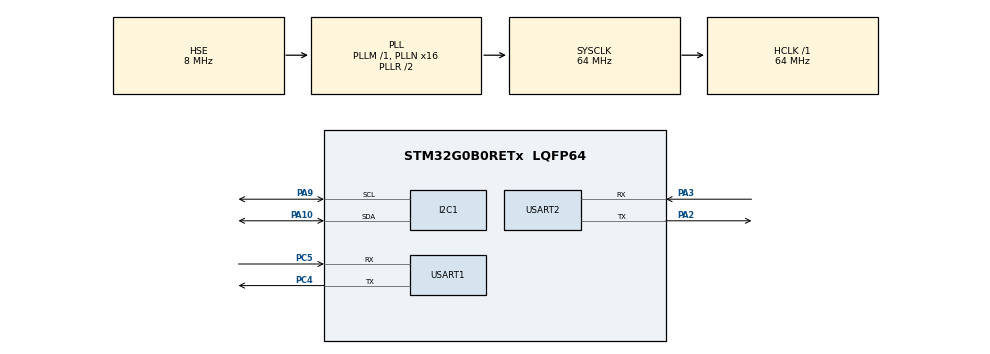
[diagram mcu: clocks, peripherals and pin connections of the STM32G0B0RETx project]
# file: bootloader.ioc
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I2C1.Timing=0x10707DBC
Mcu.Family=STM32G0
Mcu.Name=STM32G0B0RETx
Mcu.Package=LQFP64
PA10.Mode=I2C
PA10.Signal=I2C1_SDA
PA13.Mode=Serial_Wire
PA13.Signal=SYS_SWDIO
PA14-BOOT0.Mode=Serial_Wire
PA14-BOOT0.Signal=SYS_SWCLK
PA2.Mode=Asynchronous
PA2.Signal=USART2_TX
PA3.Mode=Asynchronous
PA3.Signal=USART2_RX
PA9.Mode=I2C
PA9.Signal=I2C1_SCL
PC4.Mode=Asynchronous
PC4.Signal=USART1_TX
PC5.Mode=Asynchronous
PC5.Signal=USART1_RX
PF0-OSC_IN\ (PF0).Mode=HSE-External-Oscillator
PF0-OSC_IN\ (PF0).Signal=RCC_OSC_IN
PF1-OSC_OUT\ (PF1).Mode=HSE-External-Oscillator
PF1-OSC_OUT\ (PF1).Signal=RCC_OSC_OUT
ProjectManager.HeapSize=0x200
ProjectManager.StackSize=0x400
ProjectManager.TargetToolchain=Makefile
RCC.ADCFreq_Value=64000000
RCC.AHBFreq_Value=64000000
RCC.CortexFreq_Value=64000000
RCC.EXTERNAL_CLOCK_VALUE=48000
RCC.HCLKFreq_Value=64000000
RCC.HSI_VALUE=16000000
RCC.LSE_VALUE=32768
RCC.PLLN=16
RCC.PLLSourceVirtual=RCC_PLLSOURCE_HSE
RCC.SYSCLKFreq_VALUE=64000000
RCC.SYSCLKSource=RCC_SYSCLKSOURCE_PLLCLK
RCC.USBFreq_Value=64000000
RCC.VCOOutputFreq_Value=128000000
USART1.VirtualMode-Asynchronous=VM_ASYNC
USART2.VirtualMode-Asynchronous=VM_ASYNC
VP_SYS_VS_DBSignals.Mode=DisableDeadBatterySignals
board=custom

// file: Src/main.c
/* USER CODE BEGIN Header */
/**
 ******************************************************************************
 * @file           : main.c
 * @brief          : Main program body
 ******************************************************************************
 * @attention
 *
 * Copyright (c) 2023 STMicroelectronics.
 * All rights reserved.
 *
 * This software is licensed under terms that can be found in the LICENSE file
 * in the root directory of this software component.
 * If no LICENSE file comes with this software, it is provided AS-IS.
 *
 ******************************************************************************
 */
/* USER CODE END Header */
#include "main.h"
#include "i2c.h"
#include "usart.h"
#include "gpio.h"

/* USER CODE BEGIN Includes */
#include <stdio.h>
#include <string.h>
#include "hg24c64.h"
/* USER CODE END Includes */

/* USER CODE BEGIN PD */
#define FLASH_ADDRESS          (0x08000000)
#define FLASH_END_ADDRESS      (0x08100000)         // 1024KB
#define APP_BOOTLOADER_ADDRESS (0x08000000)         // 16KB
#define APP1_FLASH_ADDRESS     (0x08004000)         // 496KB
#define APP2_FLASH_ADDRESS     (0x08080000)         // 512KB
#define APP1_FLASH_END_ADDRESS (APP2_FLASH_ADDRESS) // 不包�???????
#define APP2_FLASH_END_ADDRESS (FLASH_END_ADDRESS)  // 不包�???????
#define APP_INFO_FLASH_SECTOR  FLASH_SECTOR_1
#define APP_INFO_ENABLED_FLAG  (0xCD)
/* USER CODE END PD */

/* USER CODE BEGIN PM */
#define offsetof(type, member)          ((uint32_t) & (((type *)0)->member))
#define member_size(type, member)       (sizeof(((type *)0)->member))
#define container_of(ptr, type, member) ({             \
    const typeof(((type *)0)->member) *__mptr = (ptr); \
    (type *)((char *)__mptr - offsetof(type, member)); \
})

/* USER CODE END PM */

/* USER CODE BEGIN PV */
typedef struct {
    int8_t id;          // app编号,合法值为1�???2
    uint32_t addr;      // app地址
    uint32_t timestamp; // app下载时间
    uint32_t size;      // app大小
    // version字段: "0.0.1"，是有三位的版本�???,分别是对应的version里面的：major, minor, patch
    uint8_t version_major;
    uint8_t version_minor;
    uint8_t version_patch;
    uint8_t note[16];     // app信息
    uint8_t enabled;      // 是否有效
    uint8_t reserved[47]; // 保留
} app_info_t;

typedef struct {
    app_info_t app_current;
    app_info_t app_previous;
} app_partition_t;

app_partition_t g_app_partition;

/* USER CODE END PV */

void SystemClock_Config(void);

/* USER CODE BEGIN 0 */

void jump_to_app(void)
{

    int i = 0;
    // �?查栈顶地�?是否合法
    if (((*(uint32_t *)g_app_partition.app_current.addr) & 0x2FFE0000) == 0x20020000) {
        /* 关闭全局中断 */
        __set_PRIMASK(1);

        /** 关闭外设 */
        HAL_UART_DeInit(&huart1);
        HAL_UART_DeInit(&huart2);
        HAL_I2C_DeInit(&hi2c1);
        // HAL_GPIO_DeInit(GPIOA, GPIO_PIN_5);
        HAL_RCC_DeInit();
        HAL_DeInit();

        SysTick->CTRL = 0;
        SysTick->LOAD = 0;
        SysTick->VAL  = 0;

        for (i = 0; i < 8; i++) {
            NVIC->ICER[i] = 0xFFFFFFFF;
            NVIC->ICPR[i] = 0xFFFFFFFF;
        }

        /* 使能全局中断 */
        __set_PRIMASK(0);

        /* 在RTOS工程，这条语句很重要，设置为特权级模式，使用MSP指针 */
        __set_CONTROL(0);

        void (*app_start)() = *(__IO uint32_t *)(g_app_partition.app_current.addr + 4);

        // 初始化APP堆栈指针(用户代码区的第一个字用于存放栈顶地址)
        __set_MSP(*(__IO uint32_t *)(g_app_partition.app_current.addr));
        uint32_t offset = g_app_partition.app_current.addr - FLASH_ADDRESS;
        SCB->VTOR       = FLASH_BASE | offset;
        app_start();
    }
    /* 跳转成功的话，不会执行到这里 */
    printf("\r\nlaunch app error.");
    Error_Handler();
}

void print_welcome()
{
    printf("\r\n*************************************************************");
    printf("\r\n*                                                           *");
    printf("\r\n*                     THIS IS BOOTLOADER                    *");
    printf("\r\n*                  SOFTWARE VERSION: 1.0.0                  *");
    printf("\r\n*                  Created By Shang Wentao                  *");
    printf("\r\n*                                                           *");
    printf("\r\n*************************************************************");
    printf("\r\n");
}

void print_time(uint32_t timestamp, char *dest, size_t len)
{
    long days   = 24 * 60 * 60;
    long months = days * 30;
    long years  = months * 12;
    long y, m, d, HH, MM, SS;
    y  = timestamp / years + 1970;
    m  = timestamp % years / months + 1;
    d  = timestamp % years % months / days + 1;
    HH = timestamp % years % months % days / 3600;
    MM = timestamp % years % months % days % 3600 / 60;
    SS = timestamp % years % months % days % 3600 % 60;
    snprintf(dest, len, "%04d/%02d/%02d %02d:%02d:%02d", y, m, d, HH, MM, SS);
}

void print_app_info(app_info_t *app_info)
{
    char date_time[32] = {0};
    printf("\r\npartition id:  %1d", app_info->id);
    printf("\r\napp version:   v%d.%d.%d", app_info->version_major, app_info->version_minor, app_info->version_patch);
    printf("\r\napp size:      %dKB", app_info->size >> 10);
    printf("\r\nboot address:  0x%08X", app_info->addr);
    printf("\r\napp note:      \"%s\"", app_info->note);
    print_time(app_info->timestamp, date_time, sizeof(date_time));
    printf("\r\nupdate time:   %s", date_time);
}
#ifdef DEBUG
void debug_app_info(app_partition_t *storage_data)
{
    memset((void *)storage_data, 0, sizeof(app_partition_t));
    storage_data->app_previous.id            = 2;
    storage_data->app_previous.version_minor = 0;
    storage_data->app_previous.version_major = 0;
    storage_data->app_previous.version_patch = 0;
    storage_data->app_previous.enabled       = 0;
    strcpy(storage_data->app_current.note, "");
    storage_data->app_previous.timestamp = 0;
    storage_data->app_previous.addr      = APP2_FLASH_ADDRESS;
    storage_data->app_previous.size      = 0;

    storage_data->app_current.id            = 1;
    storage_data->app_current.version_minor = 0;
    storage_data->app_current.version_major = 0;
    storage_data->app_current.version_patch = 0;
    storage_data->app_current.enabled       = APP_INFO_ENABLED_FLAG;
    strcpy(storage_data->app_current.note, "init version");
    storage_data->app_current.timestamp = HAL_GetTick();
    storage_data->app_current.addr      = APP1_FLASH_ADDRESS;
    storage_data->app_current.size      = APP1_FLASH_END_ADDRESS - APP1_FLASH_ADDRESS;

    Storage_Write_Buffer(0x00, (uint8_t *)&g_app_partition, sizeof(g_app_partition));
}
#endif
void reset_app_info(app_partition_t *storage_data)
{
    memset((void *)storage_data, 0, sizeof(app_partition_t));
    storage_data->app_previous.id            = 2;
    storage_data->app_previous.version_minor = 0;
    storage_data->app_previous.version_major = 0;
    storage_data->app_previous.version_patch = 0;
    storage_data->app_previous.enabled       = 0;
    strcpy(storage_data->app_current.note, "");
    storage_data->app_previous.timestamp = 0;
    storage_data->app_previous.addr      = APP2_FLASH_ADDRESS;
    storage_data->app_previous.size      = 0;

    storage_data->app_current.id            = 1;
    storage_data->app_current.version_minor = 0;
    storage_data->app_current.version_major = 0;
    storage_data->app_current.version_patch = 0;
    storage_data->app_current.enabled       = APP_INFO_ENABLED_FLAG;
    strcpy(storage_data->app_current.note, "init version");
    storage_data->app_current.timestamp = HAL_GetTick();
    storage_data->app_current.addr      = APP1_FLASH_ADDRESS;
    storage_data->app_current.size      = APP1_FLASH_END_ADDRESS - APP1_FLASH_ADDRESS;

    Storage_Write_Buffer(0x00, (uint8_t *)&g_app_partition, sizeof(g_app_partition));
}

void app_rollback()
{
    app_info_t cur = {0};
    app_info_t pre = {0};
    Storage_Read_Buffer(offsetof(app_partition_t, app_current), &cur, sizeof(cur));
    Storage_Read_Buffer(offsetof(app_partition_t, app_previous), &pre, sizeof(pre));
    cur.enabled = 0; // 禁用当前app
    Storage_Write_Buffer(offsetof(app_partition_t, app_current), &pre, sizeof(pre));
    Storage_Write_Buffer(offsetof(app_partition_t, app_previous), &cur, sizeof(cur));
}
/* USER CODE END 0 */

int main(void)
{

    /* MCU Configuration--------------------------------------------------------*/

    /* Reset of all peripherals, Initializes the Flash interface and the Systick. */
    HAL_Init();

    /* Configure the system clock */
    SystemClock_Config();

    /* Initialize all configured peripherals */
    MX_GPIO_Init();
    MX_I2C1_Init();
    MX_USART1_UART_Init();
    MX_USART2_UART_Init();
    /* USER CODE BEGIN 2 */
    print_welcome();
    printf("\r\ninit device.");
    if (!Storage_Ready()) {
        printf("\r\ninit storage device failed.");
        Error_Handler();
    }
#ifdef DEBUG
    debug_app_info(&g_app_partition);
#endif
read_app_info:
    printf("\r\nread app info.");
    Storage_Read_Buffer(0x00, (uint8_t *)&g_app_partition, sizeof(g_app_partition));

    if (g_app_partition.app_current.enabled == APP_INFO_ENABLED_FLAG) {
        // 打印g_app_partition.app_current成员信息
        if (g_app_partition.app_previous.enabled == APP_INFO_ENABLED_FLAG) {
            printf("\r\n[previous app info]");
            print_app_info(&g_app_partition.app_previous);
            printf("\r\n");
        }
        printf("\r\n[current app info]");
        print_app_info(&g_app_partition.app_current);
        printf("\r\n");
    } else if (g_app_partition.app_previous.enabled == APP_INFO_ENABLED_FLAG) {
        // app1 disabled, enable app2
        printf("\r\nfound valid previous app, rollback.");
        app_rollback();
        goto read_app_info; // 重新读取app信息
    } else {
        printf("\r\napp not initialized.");
        printf("\r\nreset app info.");
        // 重置g_app_partition内容并写入存储器
        reset_app_info(&g_app_partition);
        printf("\r\ndone.");
        goto read_app_info;
    }
    printf("\r\nlaunch app.");
    jump_to_app();
    /* USER CODE END 2 */

    /* Infinite loop */
    while (1) {

    }
}

void SystemClock_Config(void)
{
    RCC_OscInitTypeDef RCC_OscInitStruct = {0};
    RCC_ClkInitTypeDef RCC_ClkInitStruct = {0};

    /** Configure the main internal regulator output voltage
     */
    HAL_PWREx_ControlVoltageScaling(PWR_REGULATOR_VOLTAGE_SCALE1);

    /** Initializes the RCC Oscillators according to the specified parameters
     * in the RCC_OscInitTypeDef structure.
     */
    RCC_OscInitStruct.OscillatorType = RCC_OSCILLATORTYPE_HSE;
    RCC_OscInitStruct.HSEState       = RCC_HSE_ON;
    RCC_OscInitStruct.PLL.PLLState   = RCC_PLL_ON;
    RCC_OscInitStruct.PLL.PLLSource  = RCC_PLLSOURCE_HSE;
    RCC_OscInitStruct.PLL.PLLM       = RCC_PLLM_DIV1;
    RCC_OscInitStruct.PLL.PLLN       = 16;
    RCC_OscInitStruct.PLL.PLLP       = RCC_PLLP_DIV2;
    RCC_OscInitStruct.PLL.PLLQ       = RCC_PLLQ_DIV2;
    RCC_OscInitStruct.PLL.PLLR       = RCC_PLLR_DIV2;
    if (HAL_RCC_OscConfig(&RCC_OscInitStruct) != HAL_OK) {
        Error_Handler();
    }

    /** Initializes the CPU, AHB and APB buses clocks
     */
    RCC_ClkInitStruct.ClockType      = RCC_CLOCKTYPE_HCLK | RCC_CLOCKTYPE_SYSCLK | RCC_CLOCKTYPE_PCLK1;
    RCC_ClkInitStruct.SYSCLKSource   = RCC_SYSCLKSOURCE_PLLCLK;
    RCC_ClkInitStruct.AHBCLKDivider  = RCC_SYSCLK_DIV1;
    RCC_ClkInitStruct.APB1CLKDivider = RCC_HCLK_DIV1;

    if (HAL_RCC_ClockConfig(&RCC_ClkInitStruct, FLASH_LATENCY_2) != HAL_OK) {
        Error_Handler();
    }
}

/* USER CODE BEGIN 4 */
#ifdef __GNUC__
int _write(int fd, char *ptr, int len)
{
    HAL_UART_Transmit(&huart2, (uint8_t *)ptr, len, 0xFFFF);
    return len;
}
#else
int fputc(int ch, FILE *f)
{
    HAL_UART_Transmit(&huart2, (uint8_t *)&ch, 1, 0xFFFF); // 输出指向串口USART3
    return ch;
}
#endif
/* USER CODE END 4 */

void Error_Handler(void)
{
    __disable_irq();
    while (1) {
    }
}
